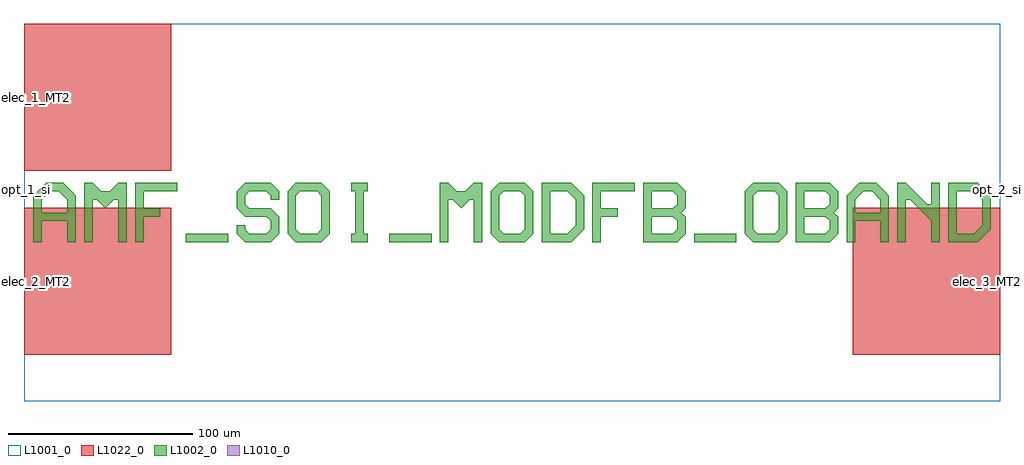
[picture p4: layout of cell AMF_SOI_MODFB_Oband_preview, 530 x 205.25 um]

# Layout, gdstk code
import gdstk
lib = gdstk.Library(unit=1e-6, precision=1e-09)
def R(c, l, rs):  # rectangles x0, y0, x1, y1
    for r in rs: c.add(gdstk.rectangle(r[:2], r[2:], *l))
def P(c, l, *ps):  # polygons
    for p in ps: c.add(gdstk.Polygon(p, *l))
L1001_0 = (1001, 0)
L1002_0 = (1002, 0)
L1010_0 = (1010, 0)
L1022_0 = (1022, 0)

amf_soi_modfb_oband_prev = lib.new_cell('AMF_SOI_MODFB_Oband_preview')
R(amf_soi_modfb_oband_prev, L1001_0, [(0,-115.25,530,90)])
R(amf_soi_modfb_oband_prev, L1002_0, [(87.9,-28.725,110.9,-24.125), (198.3,-28.725,221.3,-24.125), (363.9,-28.725,386.9,-24.125)])
P(amf_soi_modfb_oband_prev, L1002_0, [(5.1,-28.725),(5.1,-3.425),(12,3.475),(21.2,3.475),(25.8,-1.125),(14.3,-1.125),(9.7,-5.725),(9.7,-12.625),(23.5,-12.625),(23.5,-5.725),(18.9,-1.125),(25.8,-1.125),(28.1,-3.425),(28.1,-28.725),(23.5,-28.725),(23.5,-17.225),(9.7,-17.225),(9.7,-28.725)],
  [(32.7,-28.725),(32.7,3.475),(37.3,3.475),(41.9,-1.125),(46.5,-1.125),(51.1,3.475),(55.7,3.475),(55.7,-28.725),(51.1,-28.725),(51.1,-5.725),(48.8,-5.725),(44.2,-10.325),(39.6,-5.725),(37.3,-5.725),(37.3,-28.725)],
  [(60.3,-28.725),(60.3,3.475),(83.3,3.475),(83.3,-1.125),(64.9,-1.125),(64.9,-10.325),(74.1,-10.325),(74.1,-14.925),(64.9,-14.925),(64.9,-28.725)],
  [(120.1,-28.725),(115.5,-24.125),(115.5,-19.525),(120.1,-19.525),(120.1,-21.825),(122.4,-24.125),(131.6,-24.125),(133.9,-21.825),(133.9,-17.225),(131.6,-14.925),(120.1,-14.925),(115.5,-10.325),(115.5,-1.125),(120.1,3.475),(133.9,3.475),(138.5,-1.125),(138.5,-5.725),(133.9,-5.725),(133.9,-3.425),(131.6,-1.125),(122.4,-1.125),(120.1,-3.425),(120.1,-8.025),(122.4,-10.325),(133.9,-10.325),(138.5,-14.925),(138.5,-24.125),(133.9,-28.725)],
  [(147.7,-28.725),(143.1,-24.125),(143.1,-1.125),(147.7,3.475),(161.5,3.475),(166.1,-1.125),(166.1,-12.625),(161.5,-12.625),(161.5,-3.425),(159.2,-1.125),(150,-1.125),(147.7,-3.425),(147.7,-21.825),(150,-24.125),(159.2,-24.125),(161.5,-21.825),(161.5,-12.625),(166.1,-12.625),(166.1,-24.125),(161.5,-28.725)],
  [(177.6,-28.725),(177.6,-24.125),(179.9,-24.125),(179.9,-1.125),(177.6,-1.125),(177.6,3.475),(186.8,3.475),(186.8,-1.125),(184.5,-1.125),(184.5,-24.125),(186.8,-24.125),(186.8,-28.725)],
  [(225.9,-28.725),(225.9,3.475),(230.5,3.475),(235.1,-1.125),(239.7,-1.125),(244.3,3.475),(248.9,3.475),(248.9,-28.725),(244.3,-28.725),(244.3,-5.725),(242,-5.725),(237.4,-10.325),(232.8,-5.725),(230.5,-5.725),(230.5,-28.725)],
  [(258.1,-28.725),(253.5,-24.125),(253.5,-1.125),(258.1,3.475),(271.9,3.475),(276.5,-1.125),(276.5,-12.625),(271.9,-12.625),(271.9,-3.425),(269.6,-1.125),(260.4,-1.125),(258.1,-3.425),(258.1,-21.825),(260.4,-24.125),(269.6,-24.125),(271.9,-21.825),(271.9,-12.625),(276.5,-12.625),(276.5,-24.125),(271.9,-28.725)],
  [(281.1,-28.725),(281.1,3.475),(297.2,3.475),(301.8,-1.125),(285.7,-1.125),(285.7,-24.125),(294.9,-24.125),(299.5,-19.525),(299.5,-5.725),(294.9,-1.125),(301.8,-1.125),(304.1,-3.425),(304.1,-21.825),(297.2,-28.725)],
  [(308.7,-28.725),(308.7,3.475),(331.7,3.475),(331.7,-1.125),(313.3,-1.125),(313.3,-10.325),(322.5,-10.325),(322.5,-14.925),(313.3,-14.925),(313.3,-28.725)],
  [(336.3,-28.725),(336.3,3.475),(354.7,3.475),(359.3,-1.125),(340.9,-1.125),(340.9,-10.325),(352.4,-10.325),(354.7,-8.025),(354.7,-3.425),(352.4,-1.125),(359.3,-1.125),(359.3,-10.325),(357,-12.625),(359.3,-14.925),(340.9,-14.925),(340.9,-24.125),(352.4,-24.125),(354.7,-21.825),(354.7,-17.225),(352.4,-14.925),(359.3,-14.925),(359.3,-24.125),(354.7,-28.725)],
  [(396.1,-28.725),(391.5,-24.125),(391.5,-1.125),(396.1,3.475),(409.9,3.475),(414.5,-1.125),(414.5,-12.625),(409.9,-12.625),(409.9,-3.425),(407.6,-1.125),(398.4,-1.125),(396.1,-3.425),(396.1,-21.825),(398.4,-24.125),(407.6,-24.125),(409.9,-21.825),(409.9,-12.625),(414.5,-12.625),(414.5,-24.125),(409.9,-28.725)],
  [(419.1,-28.725),(419.1,3.475),(437.5,3.475),(442.1,-1.125),(423.7,-1.125),(423.7,-10.325),(435.2,-10.325),(437.5,-8.025),(437.5,-3.425),(435.2,-1.125),(442.1,-1.125),(442.1,-10.325),(439.8,-12.625),(442.1,-14.925),(423.7,-14.925),(423.7,-24.125),(435.2,-24.125),(437.5,-21.825),(437.5,-17.225),(435.2,-14.925),(442.1,-14.925),(442.1,-24.125),(437.5,-28.725)],
  [(446.7,-28.725),(446.7,-3.425),(453.6,3.475),(462.8,3.475),(467.4,-1.125),(455.9,-1.125),(451.3,-5.725),(451.3,-12.625),(465.1,-12.625),(465.1,-5.725),(460.5,-1.125),(467.4,-1.125),(469.7,-3.425),(469.7,-28.725),(465.1,-28.725),(465.1,-17.225),(451.3,-17.225),(451.3,-28.725)],
  [(474.3,-28.725),(474.3,3.475),(478.9,3.475),(490.4,-8.025),(492.7,-8.025),(492.7,3.475),(497.3,3.475),(497.3,-28.725),(492.7,-28.725),(492.7,-17.225),(481.2,-5.725),(478.9,-5.725),(478.9,-28.725)],
  [(501.9,-28.725),(501.9,3.475),(518,3.475),(522.6,-1.125),(506.5,-1.125),(506.5,-24.125),(515.7,-24.125),(520.3,-19.525),(520.3,-5.725),(515.7,-1.125),(522.6,-1.125),(524.9,-3.425),(524.9,-21.825),(518,-28.725)])
R(amf_soi_modfb_oband_prev, L1010_0, [(0,-0.205,0.4,0.205), (529.6,-0.205,530,0.205)])
R(amf_soi_modfb_oband_prev, L1022_0, [(0,-90,80,-10), (450,-90,530,-10), (0,10,80,90)])
amf_soi_modfb_oband_prev.add(gdstk.Label('opt_1_si', (0,0), layer=1010, texttype=0))
amf_soi_modfb_oband_prev.add(gdstk.Label('opt_2_si', (530,0), layer=1010, texttype=0))
amf_soi_modfb_oband_prev.add(gdstk.Label('elec_1_MT2', (0,50), layer=1022, texttype=0))
amf_soi_modfb_oband_prev.add(gdstk.Label('elec_2_MT2', (0,-50), layer=1022, texttype=0))
amf_soi_modfb_oband_prev.add(gdstk.Label('elec_3_MT2', (530,-50), layer=1022, texttype=0))

lib.write_gds('AMF_SOI_MODFB_Oband_preview.gds')
